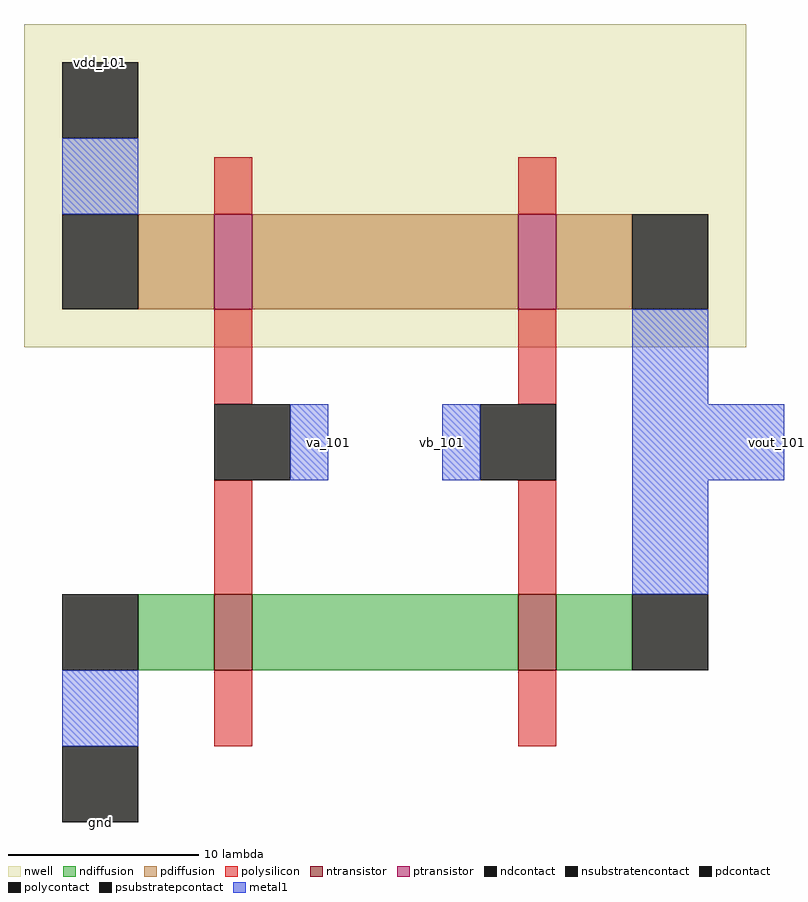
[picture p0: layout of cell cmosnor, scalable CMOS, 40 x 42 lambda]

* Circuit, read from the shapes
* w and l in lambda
.subckt cmosnor gnd va_101 vb_101 vdd_101 vout_101
M1 n1 va_101 gnd gnd nfet w=4 l=2
M2 vout_101 vb_101 n1 gnd nfet w=4 l=2
M3 n2 va_101 vdd_101 vdd_101 pfet w=5 l=2
M4 vout_101 vb_101 n2 vdd_101 pfet w=5 l=2
.ends

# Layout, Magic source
magic
tech scmos
<< nwell >>
rect -18 1 20 18
<< polysilicon >>
rect -8 8 -6 11
rect 8 8 10 11
rect -8 -2 -6 3
rect 8 -2 10 3
rect -8 -12 -6 -6
rect 8 -12 10 -6
rect -8 -20 -6 -16
rect 8 -20 10 -16
<< ndiffusion >>
rect -12 -16 -8 -12
rect -6 -16 8 -12
rect 10 -16 14 -12
<< pdiffusion >>
rect -12 3 -8 8
rect -6 3 8 8
rect 10 3 14 8
<< metal1 >>
rect -16 8 -12 12
rect 14 -2 18 3
rect -4 -6 -2 -2
rect 4 -6 6 -2
rect 14 -6 22 -2
rect 14 -12 18 -6
rect -16 -20 -12 -16
<< ntransistor >>
rect -8 -16 -6 -12
rect 8 -16 10 -12
<< ptransistor >>
rect -8 3 -6 8
rect 8 3 10 8
<< polycontact >>
rect -8 -6 -4 -2
rect 6 -6 10 -2
<< ndcontact >>
rect -16 -16 -12 -12
rect 14 -16 18 -12
<< pdcontact >>
rect -16 3 -12 8
rect 14 3 18 8
<< psubstratepcontact >>
rect -16 -24 -12 -20
<< nsubstratencontact >>
rect -16 12 -12 16
<< labels >>
rlabel nsubstratencontact -16 16 -12 16 4 vdd_101
rlabel psubstratepcontact -16 -24 -12 -24 2 gnd
rlabel metal1 -2 -6 -2 -2 1 va_101
rlabel metal1 4 -6 4 -2 1 vb_101
rlabel metal1 22 -6 22 -2 7 vout_101
<< end >>
